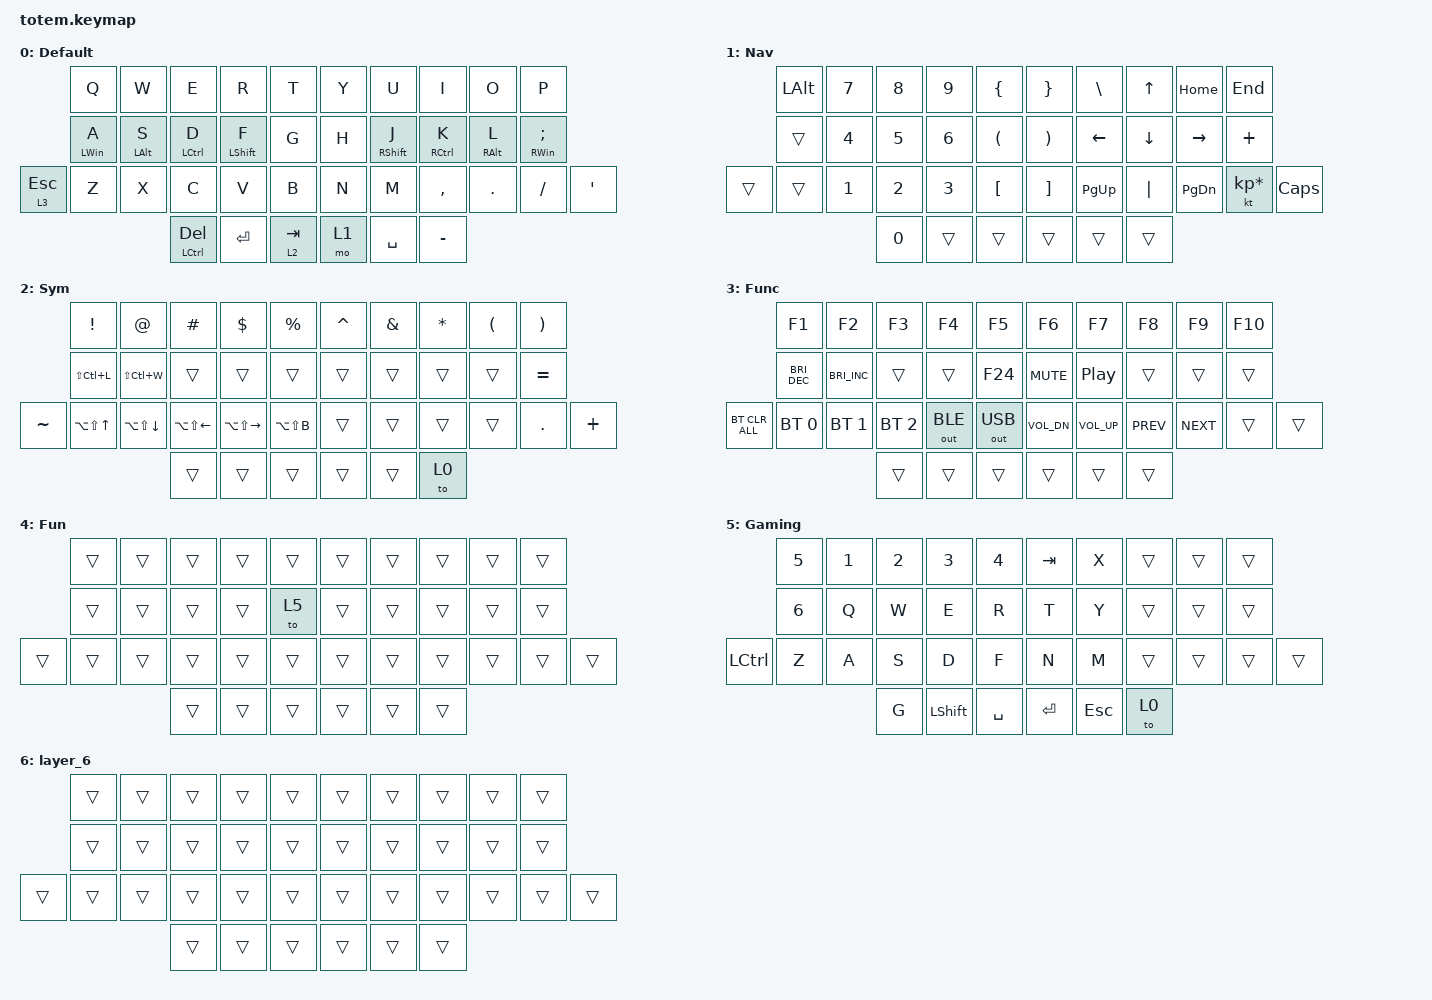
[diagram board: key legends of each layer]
//
//                                                        ▀▀▀▀▀     ▀▀▀▀▀          ▀▀█▀▀
//                                                        ▄▀▀▀▄  ▄  ▄▀▀▀▄  ▄  ▄▀▀▀▄  █  ▄▀▀▀▄
//                                                        █   █  █  █   █  █  █   █  █  █   █
//                                                         ▀▀▀   █   ▀▀▀   █   ▀▀▀   ▀   ▀▀▀
//                                                               █      ▄▄▄█▄▄▄    █   █
//                                                               ▀      █  █  █     █▄█
//                                                             ▀▀▀▀▀    █  █  █      ▀
//                                                                      ▀  ▀  ▀
//
// ▄▄▄▄▄▄▄▄▄▄▄▄▄▄▄▄▄▄▄▄▄▄▄▄▄▄▄▄▄▄▄▄▄▄▄▄▄▄▄▄▄▄▄▄▄▄▄▄▄▄▄▄▄▄▄▄▄▄▄▄▄▄▄▄▄▄▄▄▄▄▄▄▄▄▄▄▄▄▄▄▄▄▄▄▄▄▄▄▄▄▄▄▄▄▄▄▄▄▄▄▄▄▄▄▄▄▄▄▄▄▄▄▄▄▄▄▄▄▄▄▄▄▄▄▄▄▄▄▄▄▄▄▄▄▄▄▄▄▄▄▄▄▄▄▄▄▄▄▄

#include "zmk-helpers/helper.h"
#include "zmk-helpers/key-labels/totem.h"
#include <behaviors.dtsi>
#include <dt-bindings/zmk/bt.h>
#include <dt-bindings/zmk/keys.h>
#include <dt-bindings/zmk/outputs.h>

#define BASE 0
#define NAV  1
#define DIG  2
#define SYS  3
#define QUICK_TAP_MS 175

/* Timeless homerow mods */
// https://github.com/urob/zmk-config/tree/main#timeless-homerow-mods

#define KEYS_L LT0 LT1 LT2 LT3 LT4 LM0 LM1 LM2 LM3 LM4 LB0 LB1 LB2 LB3 LB4 LB5  // left hand
#define KEYS_R RT0 RT1 RT2 RT3 RT4 RM0 RM1 RM2 RM3 RM4 RB0 RB1 RB2 RB3 RB4 RB5  // right hand
#define THUMBS LH2 LH1 LH0 RH0 RH1 RH2 // thumb cluster for both hands

// proper urob's home row, uncomment it if you are not going to use visual editor
//#define MAKE_HRM(NAME, HOLD, TAP, TRIGGER_POS) \
//    ZMK_HOLD_TAP(NAME, \
//        flavor = "balanced"; \
//        tapping-term-ms = <280>; \
//        quick-tap-ms = <QUICK_TAP_MS>; \
//        require-prior-idle-ms = <150>; \
//        bindings = <HOLD>, <TAP>; \
//        hold-trigger-key-positions = <TRIGGER_POS>; \
//        hold-trigger-on-release; \
//    )
//
//MAKE_HRM(hml, &kp, &kp, KEYS_R THUMBS)  // left-hand HRMs
//MAKE_HRM(hmr, &kp, &kp, KEYS_L THUMBS)  // right-hand HRMs
//MAKE_HRM(hml_layer, &mo, &kp, KEYS_R THUMBS) // switch layer like HRM

&mt {
    quick-tap-ms = <100>;
    global-quick-tap;
    flavor = "tap-preferred";
    tapping-term-ms = <170>;
};

/ {
    combos {
        compatible = "zmk,combos";

        backspace {
            bindings = <&kp BACKSPACE>;
            key-positions = <16 17>;
            timeout-ms = <70>;
        };

        opt_backspace {
            bindings = <&kp LA(BACKSPACE)>;
            key-positions = <16 17 18>;
            timeout-ms = <70>;
        };

        shift {
            bindings = <&sk LEFT_SHIFT>;
            key-positions = <13 12>;
            timeout-ms = <100>;
        };

        to_digits_layer {
            bindings = <&to 2>;
            key-positions = <32 37>;
        };
    };

    macros {
        /**
         * Temporarily switches to a layer (`&mo`) while a modifier is held.
         * Analogous to QMK's `LM()`, using a parameterized macro.
         *
         * Params:
         *  1. Layer to switch to
         *  2. Modifier to press while layer is active
         *
         * Example:
         *  `&lm NUM_LAYER LSHIFT`
         */

        lm: lm {
            compatible = "zmk,behavior-macro-two-param";
            wait-ms = <0>;
            tap-ms = <0>;
            #binding-cells = <2>;
            bindings =
                <&macro_param_1to1>,
                <&macro_press>,
                <&mo MACRO_PLACEHOLDER &macro_param_2to1>,
                <&macro_press>,
                <&kp MACRO_PLACEHOLDER>,
                <&macro_pause_for_release>,
                <&macro_param_2to1>,
                <&macro_release>,
                <&kp MACRO_PLACEHOLDER &macro_param_1to1>,
                <&macro_release>,
                <&mo MACRO_PLACEHOLDER>;
        };

        press_two_keys: press_two_keys {
            compatible = "zmk,behavior-macro-two-param";
            wait-ms = <0>;
            tap-ms = <0>;
            #binding-cells = <2>;
            bindings =
                <&macro_param_1to1>,
                <&macro_tap>,
                <&kp MACRO_PLACEHOLDER &macro_param_2to1>,
                <&macro_tap>,
                <&kp MACRO_PLACEHOLDER>;
        };

        more_or_equal: more_or_equal {
            compatible = "zmk,behavior-macro";
            #binding-cells = <0>;
            bindings = <&kp MINUS &kp GT>;
            label = "MORE_OR_EQUAL";
        };

        less_or_equal: less_or_equal {
            compatible = "zmk,behavior-macro";
            #binding-cells = <0>;
            bindings = <&kp LT &kp EQUAL>;
            label = "LESS_OR_EQUAL";
        };

        fun_arrow_right: fun_arrow_right {
            compatible = "zmk,behavior-macro";
            #binding-cells = <0>;
            bindings = <&kp MINUS &kp GT>;
            label = "FUN_ARROW_RIGHT";
        };

        comment: comment {
            compatible = "zmk,behavior-macro";
            #binding-cells = <0>;
            bindings = <&kp FSLH &kp STAR>;
            label = "MACROS_COMMENT";
        };
    };

    behaviors {
        // this is homerow mod that works identical to urob's one, but this one allows visual editor to understand

        hml: hml {
            compatible = "zmk,behavior-hold-tap";
            label = "HML";
            bindings = <&kp>, <&kp>;

            #binding-cells = <2>;
            tapping-term-ms = <200>;
            quick-tap-ms = <150>;
            require-prior-idle-ms = <175>;
            flavor = "balanced";
            hold-trigger-key-positions = <KEYS_R THUMBS>;
            hold-trigger-on-release;
        };

        hmr: hmr {
            compatible = "zmk,behavior-hold-tap";
            label = "HMR";
            bindings = <&kp>, <&kp>;

            #binding-cells = <2>;
            tapping-term-ms = <200>;
            quick-tap-ms = <150>;
            require-prior-idle-ms = <175>;
            flavor = "balanced";
            hold-trigger-key-positions = <KEYS_L THUMBS>;
            hold-trigger-on-release;
        };

        comment_or: comment_or {
            compatible = "zmk,behavior-hold-tap";
            label = "slash_or_comm";
            bindings = <&comment>, <&kp>;

            #binding-cells = <2>;
            tapping-term-ms = <200>;
            flavor = "tap-preferred";
        };
    };

    keymap {
        compatible = "zmk,keymap";

        QWERTY {
            label = "Default";
            bindings = <
           &kp Q            &kp W        &kp E          &kp R              &kp T        &kp Y  &kp U               &kp I         &kp O             &kp P
           &hml LEFT_WIN A  &hml LALT S  &hml LCTRL D   &hml LEFT_SHIFT F  &kp G        &kp H  &hmr RIGHT_SHIFT J  &hmr RCTRL K  &hmr RIGHT_ALT L  &hmr RWIN SEMICOLON
&lt 3 ESC  &kp Z            &kp X        &kp C          &kp V              &kp B        &kp N  &kp M               &kp COMMA     &kp DOT           &kp SLASH            &kp SQT
                                         &mt LCTRL DEL  &kp RET            &lt 2 TAB    &mo 1  &kp SPACE           &kp MINUS
            >;
        };

        Navigation {
            label = "Nav";
            bindings = <
        &kp LEFT_ALT  &kp NUMBER_7  &kp NUMBER_8  &kp NUMBER_9  &kp LEFT_BRACE          &kp RIGHT_BRACE        &kp BACKSLASH   &kp UP_ARROW    &kp HOME         &kp END
        &trans        &kp NUMBER_4  &kp NUMBER_5  &kp NUMBER_6  &kp LEFT_PARENTHESIS    &kp RIGHT_PARENTHESIS  &kp LEFT_ARROW  &kp DOWN_ARROW  &kp RIGHT_ARROW  &kp PLUS
&trans  &trans        &kp NUMBER_1  &kp NUMBER_2  &kp NUMBER_3  &kp LEFT_BRACKET        &kp RIGHT_BRACKET      &kp PAGE_UP     &kp PIPE        &kp PAGE_DOWN    &kt KP_MULTIPLY  &kp CAPSLOCK
                                    &kp NUMBER_0  &trans        &trans                  &trans                 &trans          &trans
            >;
        };

        digits {
            label = "Sym";
            bindings = <
           &kp EXCLAMATION       &kp AT            &kp HASH                &kp DOLLAR         &kp PERCENT      &kp CARET  &kp AMPERSAND  &kp ASTERISK  &kp LPAR  &kp RPAR
           &kp LS(LC(L))         &kp LS(LC(W))     &trans                  &trans             &trans           &trans     &trans         &trans        &trans    &kp EQUAL
&kp TILDE  &kp LA(LS(UP_ARROW))  &kp LA(LS(DOWN))  &kp LA(LS(LEFT_ARROW))  &kp LA(LS(RIGHT))  &kp LA(LS(B))    &trans     &trans         &trans        &trans    &kp PERIOD  &kp PLUS
                                                   &trans                  &trans             &trans           &trans     &trans         &to 0
            >;
        };

        sim_layer {
            label = "Func";
            bindings = <
                &kp F1                &kp F2                &kp F3        &kp F4        &kp F5          &kp F6        &kp F7        &kp F8      &kp F9      &kp F10
                &kp C_BRIGHTNESS_DEC  &kp C_BRIGHTNESS_INC  &trans        &trans        &kp F24         &kp C_MUTE    &kp C_PP      &trans      &trans      &trans
&bt BT_CLR_ALL  &bt BT_SEL 0          &bt BT_SEL 1          &bt BT_SEL 2  &out OUT_BLE  &out OUT_USB    &kp C_VOL_DN  &kp C_VOL_UP  &kp C_PREV  &kp C_NEXT  &trans   &trans
                                                            &trans        &trans        &trans          &trans        &trans        &trans
            >;
        };

        FUN {
            bindings = <
        &trans  &trans  &trans  &trans  &trans    &trans  &trans  &trans  &trans  &trans
        &trans  &trans  &trans  &trans  &to 5     &trans  &trans  &trans  &trans  &trans
&trans  &trans  &trans  &trans  &trans  &trans    &trans  &trans  &trans  &trans  &trans  &trans
                        &trans  &trans  &trans    &trans  &trans  &trans
            >;

            label = "Fun";
        };

        GAMING {
            bindings = <
                  &kp NUMBER_5  &kp NUMBER_1  &kp NUMBER_2  &kp NUMBER_3    &kp NUMBER_4    &kp TAB    &kp X    &trans  &trans  &trans
                  &kp N6        &kp Q         &kp W         &kp E           &kp R           &kp T      &kp Y    &trans  &trans  &trans
&kp LEFT_CONTROL  &kp Z         &kp A         &kp S         &kp D           &kp F           &kp N      &kp M    &trans  &trans  &trans  &trans
                                              &kp G         &kp LEFT_SHIFT  &kp SPACE       &kp ENTER  &kp ESC  &to 0
            >;

            label = "Gaming";
        };

        layer_6 {
            bindings = <
        &trans  &trans  &trans  &trans  &trans    &trans  &trans  &trans  &trans  &trans
        &trans  &trans  &trans  &trans  &trans    &trans  &trans  &trans  &trans  &trans
&trans  &trans  &trans  &trans  &trans  &trans    &trans  &trans  &trans  &trans  &trans  &trans
                        &trans  &trans  &trans    &trans  &trans  &trans
            >;
        };
    };
};
